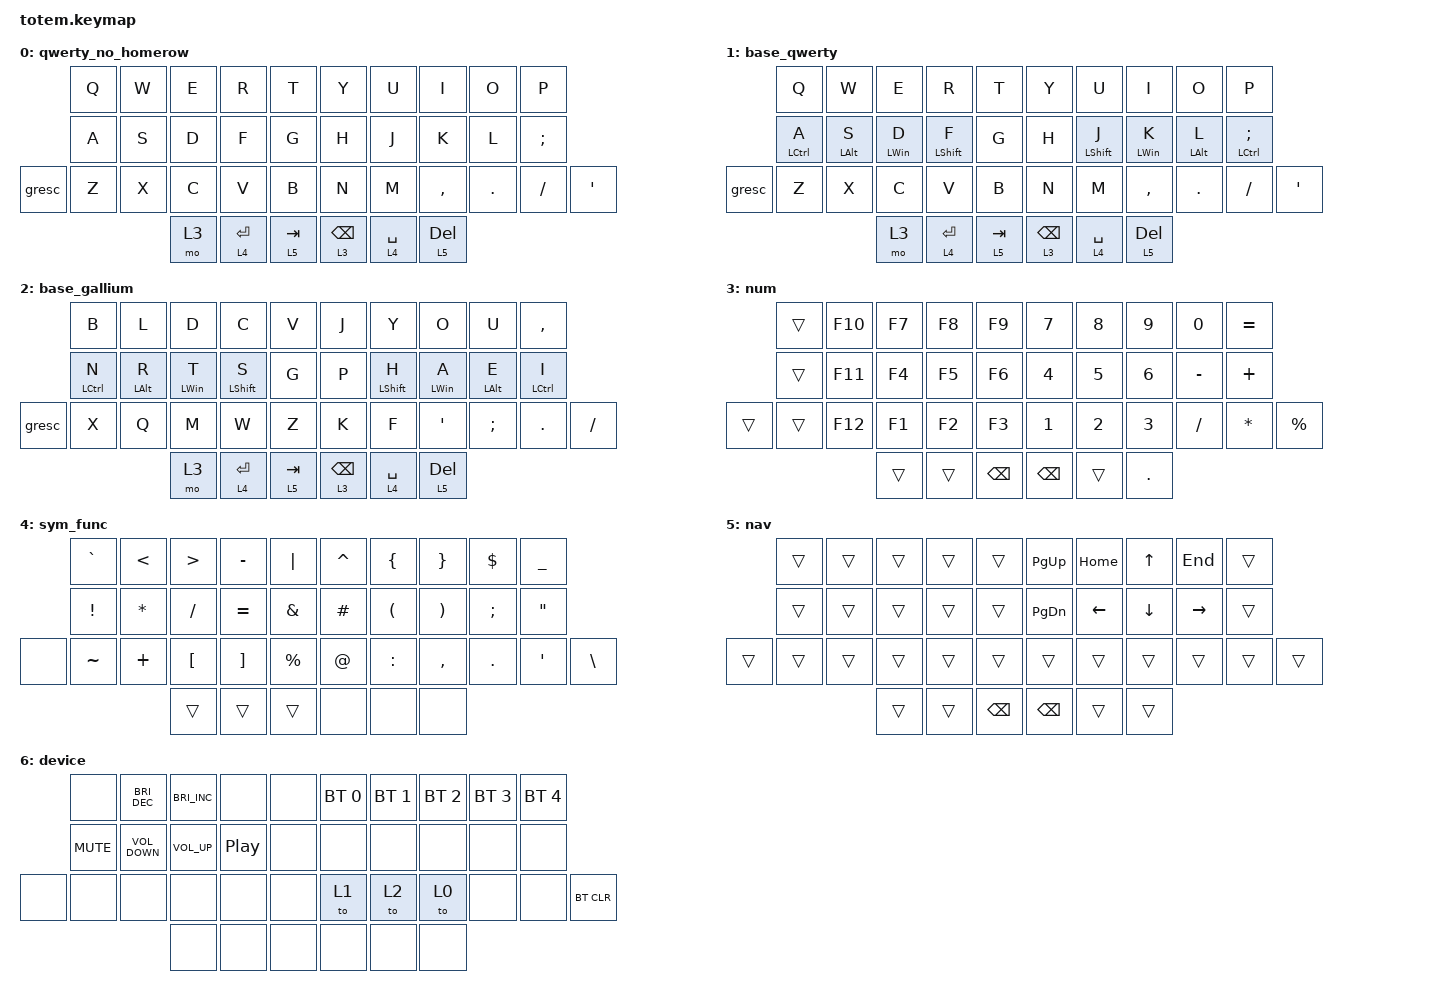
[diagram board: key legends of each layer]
//
//                                                        ▀▀▀▀▀     ▀▀▀▀▀          ▀▀█▀▀
//                                                        ▄▀▀▀▄  ▄  ▄▀▀▀▄  ▄  ▄▀▀▀▄  █  ▄▀▀▀▄
//                                                        █   █  █  █   █  █  █   █  █  █   █
//                                                         ▀▀▀   █   ▀▀▀   █   ▀▀▀   ▀   ▀▀▀
//                                                               █      ▄▄▄█▄▄▄    █   █  
//                                                               ▀      █  █  █     █▄█
//                                                             ▀▀▀▀▀    █  █  █      ▀
//                                                                      ▀  ▀  ▀
//
// ▄▄▄▄▄▄▄▄▄▄▄▄▄▄▄▄▄▄▄▄▄▄▄▄▄▄▄▄▄▄▄▄▄▄▄▄▄▄▄▄▄▄▄▄▄▄▄▄▄▄▄▄▄▄▄▄▄▄▄▄▄▄▄▄▄▄▄▄▄▄▄▄▄▄▄▄▄▄▄▄▄▄▄▄▄▄▄▄▄▄▄▄▄▄▄▄▄▄▄▄▄▄▄▄▄▄▄▄▄▄▄▄▄▄▄▄▄▄▄▄▄▄▄▄▄▄▄▄▄▄▄▄▄▄▄▄▄▄▄▄▄▄▄▄▄▄▄▄▄

#include <behaviors.dtsi>
#include <dt-bindings/zmk/bt.h>
#include <dt-bindings/zmk/keys.h>

&mt {
    flavor = "tap-preferred";
    tapping-term-ms = <300>;
};

/ {
    combos {
        compatible = "zmk,combos";

        Enter {
            bindings = <&kp RETURN>;
            key-positions = <5 6>;
        };
    };

    behaviors {
        esc_caps_word: esc_caps_word {
            compatible = "zmk,behavior-tap-dance";
            label = "ESC_CAPS_WORD";
            #binding-cells = <0>;
            bindings = <&esc_grave_tilde>, <&caps_word>;
        };

        grave_tilde: grave_tilde {
            compatible = "zmk,behavior-mod-morph";
            label = "GRAVE_TILDE";
            bindings = <&kp GRAVE>, <&kp TILDE>;

            #binding-cells = <0>;
            mods = <(MOD_LGUI|MOD_RGUI)>;
        };

        esc_grave_tilde: esc_grave_tilde {
            compatible = "zmk,behavior-mod-morph";
            label = "ESC_GRAVE_TILDE";
            bindings = <&kp ESCAPE>, <&grave_tilde>;

            #binding-cells = <0>;
            mods = <(MOD_LSFT|MOD_RSFT)>;
        };
    };

    keymap {
        compatible = "zmk,keymap";

        qwerty_no_homerow {
            bindings = <
        &kp Q  &kp W  &kp E  &kp R         &kp T        &kp Y            &kp U        &kp I         &kp O    &kp P
        &kp A  &kp S  &kp D  &kp F         &kp G        &kp H            &kp J        &kp K         &kp L    &kp SEMI
&gresc  &kp Z  &kp X  &kp C  &kp V         &kp B        &kp N            &kp M        &kp COMMA     &kp DOT  &kp FSLH  &kp SINGLE_QUOTE
                      &mo 3  &lt 4 RETURN  &lt 5 TAB    &lt 3 BACKSPACE  &lt 4 SPACE  &lt 5 DELETE
            >;
        };

        base_qwerty {
            bindings = <
        &kp Q        &kp W           &kp E           &kp R             &kp T        &kp Y            &kp U        &kp I           &kp O           &kp P
        &mt LCTRL A  &mt LEFT_ALT S  &mt LEFT_WIN D  &mt LEFT_SHIFT F  &kp G        &kp H            &mt LSHFT J  &mt LEFT_WIN K  &mt LEFT_ALT L  &mt LCTRL SEMI
&gresc  &kp Z        &kp X           &kp C           &kp V             &kp B        &kp N            &kp M        &kp COMMA       &kp DOT         &kp FSLH        &kp SINGLE_QUOTE
                                     &mo 3           &lt 4 RETURN      &lt 5 TAB    &lt 3 BACKSPACE  &lt 4 SPACE  &lt 5 DELETE
            >;
        };

        base_gallium {
            bindings = <
        &kp B        &kp L           &kp D           &kp C             &kp V        &kp J            &kp Y        &kp O           &kp U           &kp COMMA
        &mt LCTRL N  &mt LEFT_ALT R  &mt LEFT_WIN T  &mt LEFT_SHIFT S  &kp G        &kp P            &mt LSHFT H  &mt LEFT_WIN A  &mt LEFT_ALT E  &mt LCTRL I
&gresc  &kp X        &kp Q           &kp M           &kp W             &kp Z        &kp K            &kp F        &kp APOS        &kp SEMI        &kp DOT      &kp FSLH
                                     &mo 3           &lt 4 RETURN      &lt 5 TAB    &lt 3 BACKSPACE  &lt 4 SPACE  &lt 5 DEL
            >;
        };

        num {
            bindings = <
        &trans  &kp F10  &kp F7  &kp F8  &kp F9           &kp NUMBER_7   &kp N8        &kp N9        &kp N0     &kp EQUAL
        &trans  &kp F11  &kp F4  &kp F5  &kp F6           &kp NUMBER_4   &kp N5        &kp NUMBER_6  &kp MINUS  &kp PLUS
&trans  &trans  &kp F12  &kp F1  &kp F2  &kp F3           &kp NUMBER_1   &kp NUMBER_2  &kp NUMBER_3  &kp SLASH  &kp ASTRK  &kp PERCENT
                         &trans  &trans  &kp BACKSPACE    &kp BACKSPACE  &trans        &kp PERIOD
            >;
        };

        sym_func {
            bindings = <
       &kp GRAVE        &kp LESS_THAN  &kp GREATER_THAN  &kp MINUS          &kp PIPE         &kp CARET  &kp LEFT_BRACE        &kp RIGHT_BRACE        &kp DOLLAR  &kp UNDER
       &kp EXCLAMATION  &kp ASTRK      &kp SLASH         &kp EQUAL          &kp AMPERSAND    &kp HASH   &kp LEFT_PARENTHESIS  &kp RIGHT_PARENTHESIS  &kp SEMI    &kp DOUBLE_QUOTES
&none  &kp TILDE        &kp PLUS       &kp LEFT_BRACKET  &kp RIGHT_BRACKET  &kp PERCENT      &kp AT     &kp COLON             &kp COMMA              &kp PERIOD  &kp SQT            &kp BACKSLASH
                                       &trans            &trans             &trans           &none      &none                 &none
            >;
        };

        nav {
            bindings = <
        &trans  &trans  &trans  &trans  &trans           &kp PAGE_UP    &kp HOME        &kp UP_ARROW    &kp END    &trans
        &trans  &trans  &trans  &trans  &trans           &kp PAGE_DOWN  &kp LEFT_ARROW  &kp DOWN_ARROW  &kp RIGHT  &trans
&trans  &trans  &trans  &trans  &trans  &trans           &trans         &trans          &trans          &trans     &trans  &trans
                        &trans  &trans  &kp BACKSPACE    &kp BACKSPACE  &trans          &trans
            >;
        };

        device {
            bindings = <
       &none       &kp C_BRIGHTNESS_DEC  &kp C_BRIGHTNESS_INC  &none             &none    &bt BT_SEL 0  &bt BT_SEL 1  &bt BT_SEL 2  &bt BT_SEL 3  &bt BT_SEL 4
       &kp K_MUTE  &kp C_VOLUME_DOWN     &kp C_VOLUME_UP       &kp C_PLAY_PAUSE  &none    &none         &none         &none         &none         &none
&none  &none       &none                 &none                 &none             &none    &to 1         &to 2         &to 0         &none         &none         &bt BT_CLR
                                         &none                 &none             &none    &none         &none         &none
            >;
        };
    };

    conditional_layers {
        compatible = "zmk,conditional-layers";

        device {
            if-layers = <3 4>;
            then-layer = <6>;
        };
    };
};
